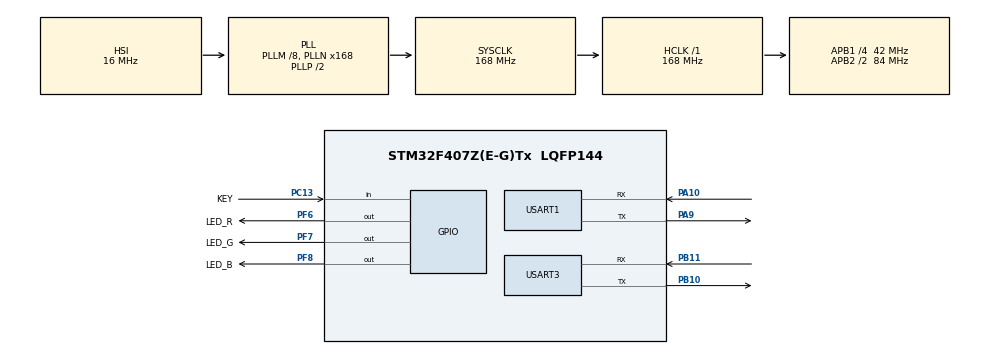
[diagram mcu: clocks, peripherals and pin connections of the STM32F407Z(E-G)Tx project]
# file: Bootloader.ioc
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Dma.Request0=USART3_RX
Dma.USART3_RX.0.Direction=DMA_PERIPH_TO_MEMORY
Dma.USART3_RX.0.FIFOMode=DMA_FIFOMODE_DISABLE
Dma.USART3_RX.0.Instance=DMA1_Stream1
Dma.USART3_RX.0.MemDataAlignment=DMA_MDATAALIGN_BYTE
Dma.USART3_RX.0.MemInc=DMA_MINC_ENABLE
Dma.USART3_RX.0.Mode=DMA_NORMAL
Dma.USART3_RX.0.PeriphDataAlignment=DMA_PDATAALIGN_BYTE
Dma.USART3_RX.0.PeriphInc=DMA_PINC_DISABLE
Dma.USART3_RX.0.Priority=DMA_PRIORITY_LOW
Mcu.Family=STM32F4
Mcu.Name=STM32F407Z(E-G)Tx
Mcu.Package=LQFP144
NVIC.DMA1_Stream1_IRQn=true\:0\:0\:false\:false\:true\:false\:true\:true
NVIC.PriorityGroup=NVIC_PRIORITYGROUP_4
NVIC.USART1_IRQn=true\:0\:0\:false\:false\:true\:true\:true\:true
NVIC.USART3_IRQn=true\:0\:0\:false\:false\:true\:true\:true\:true
PA10.Mode=Asynchronous
PA10.Signal=USART1_RX
PA9.Mode=Asynchronous
PA9.Signal=USART1_TX
PB10.Mode=Asynchronous
PB10.Signal=USART3_TX
PB11.Mode=Asynchronous
PB11.Signal=USART3_RX
PC13-ANTI_TAMP.GPIO_Label=KEY
PC13-ANTI_TAMP.GPIO_PuPd=GPIO_PULLDOWN
PC13-ANTI_TAMP.Signal=GPIO_Input
PC14-OSC32_IN.Mode=LSE-External-Oscillator
PC14-OSC32_IN.Signal=RCC_OSC32_IN
PC15-OSC32_OUT.Mode=LSE-External-Oscillator
PC15-OSC32_OUT.Signal=RCC_OSC32_OUT
PF6.GPIO_Label=LED_R
PF6.Signal=GPIO_Output
PF7.GPIO_Label=LED_G
PF7.Signal=GPIO_Output
PF8.GPIO_Label=LED_B
PF8.Signal=GPIO_Output
PH0-OSC_IN.Mode=HSE-External-Oscillator
PH0-OSC_IN.Signal=RCC_OSC_IN
PH1-OSC_OUT.Mode=HSE-External-Oscillator
PH1-OSC_OUT.Signal=RCC_OSC_OUT
ProjectManager.HeapSize=0x200
ProjectManager.StackSize=0x400
ProjectManager.TargetToolchain=CMake
RCC.48MHZClocksFreq_Value=84000000
RCC.AHBFreq_Value=168000000
RCC.APB1CLKDivider=RCC_HCLK_DIV4
RCC.APB1Freq_Value=42000000
RCC.APB1TimFreq_Value=84000000
RCC.APB2CLKDivider=RCC_HCLK_DIV2
RCC.APB2Freq_Value=84000000
RCC.APB2TimFreq_Value=168000000
RCC.CortexFreq_Value=168000000
RCC.HCLKFreq_Value=168000000
RCC.HSE_VALUE=25000000
RCC.HSI_VALUE=16000000
RCC.PLLM=8
RCC.PLLN=168
RCC.SYSCLKFreq_VALUE=168000000
RCC.SYSCLKSource=RCC_SYSCLKSOURCE_PLLCLK
RCC.VCOOutputFreq_Value=336000000
USART1.VirtualMode=VM_ASYNC
USART3.VirtualMode=VM_ASYNC
board=custom

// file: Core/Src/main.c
/* USER CODE BEGIN Header */
/**
  ******************************************************************************
  * @file           : main.c
  * @brief          : Main program body
  ******************************************************************************
  * @attention
  *
  * Copyright (c) 2026 STMicroelectronics.
  * All rights reserved.
  *
  * This software is licensed under terms that can be found in the LICENSE file
  * in the root directory of this software component.
  * If no LICENSE file comes with this software, it is provided AS-IS.
  *
  ******************************************************************************
  */
/* USER CODE END Header */
#include "main.h"
#include "dma.h"
#include "usart.h"
#include "gpio.h"

/* USER CODE BEGIN Includes */
#include <stdio.h>

#include "bsp_esp8266.h"
#include "bsp_firmware.h"
#include "bsp_flash.h"
#include "bsp_iap.h"
/* USER CODE END Includes */

/* USER CODE BEGIN PTD */
//#define KEY_PRESSED() HAL_GPIO_ReadPin(KEY_GPIO_Port, KEY_Pin) == GPIO_PIN_SET
/* USER CODE END PTD */

/* USER CODE BEGIN PD */
/* 串口3 DMA接收缓冲区 */
#define ESP_RX_SIZE 256
uint8_t esp_rx_buffer[ESP_RX_SIZE];
uint8_t rx_data;
uint8_t need_upgrade = 0;

int active_bank;
/* USER CODE END PD */

void SystemClock_Config(void);

/* USER CODE BEGIN 0 */
void JumpToApplication(uint32_t appAddress)
{
  const uint32_t app_sp = *(__IO uint32_t*)appAddress;
  const uint32_t app_entry = *(__IO uint32_t*)(appAddress + 4U);
  const uint32_t sram_start = SRAM_BASE;
  const uint32_t sram_end = SRAM_BASE + (128U * 1024U);

  /* 查一下什么意思 */
  uint32_t app_end = 0U;
  if ((appAddress >= BANK_A_ADDRESS) &&
      (appAddress <= BANK_B_ADDRESS)) {
    app_end = appAddress + BANK_SIZE;
  }

  if ((app_end != 0U) &&
      /* The initial MSP may legally point one past the last SRAM byte. */
      (app_sp >= sram_start) && (app_sp <= sram_end) &&
      ((app_sp & 0x7U) == 0U) &&
      ((app_entry & 1U) != 0U) &&
      ((app_entry & ~1U) >= appAddress) &&
      ((app_entry & ~1U) < app_end))
  {
    // 定义一个函数指针类型，用于指向应用程序的复位处理程序
    typedef void (*pFunction)(void);

    // 设置函数指针指向应用程序的复位处理程序
    pFunction app_reset_handler = (pFunction)app_entry;
    // 关闭中断 关闭 SysTick 定时器
    __disable_irq();
    SysTick->CTRL = 0; // 禁用 SysTick 定时器
    SysTick->LOAD = 0;
    SysTick->VAL = 0;

    UART1_SendString("Valid application found!\r\n");
    // char txBuf[100];

    // snprintf(txBuf, sizeof(txBuf),
    //      "APP SP: 0x%08lX\r\nAPP Entry: 0x%08lX\r\n",
    //      (unsigned long)app_sp,
    //      (unsigned long)app_entry);

    // UART1_SendString(txBuf);
    // 设置向量表偏移寄存器为应用程序的起始地址
    SCB->VTOR = appAddress;
    __set_MSP(app_sp); // 设置主堆栈指针

    app_reset_handler(); // 跳转到应用程序的复位处理程序
  }
  else
  {
    UART1_SendString("No valid application found!\r\n");
  }

}

/* 检查升级标志 */
uint8_t CheckUpgradeFlag(void) {
  // (__IO uint32_t *)把整数地址转换为指向 32 位数据的 volatile 指针
  return (*(__IO uint32_t *)UPGRADE_FLAG_ADDRESS == UPGRADE_FLAG_VALUE) ? 1U : 0U;
}

/* 清除升级标志 */
void ClearUpgradeFlag(void) {
    FLASH_EraseInitTypeDef erase_init;
    uint32_t sector_error = 0U;

    if (HAL_FLASH_Unlock() != HAL_OK) {
        return;
    }

    erase_init.TypeErase = FLASH_TYPEERASE_SECTORS;
    erase_init.Sector = UPGRADE_FLAG_SECTOR;
    erase_init.NbSectors = 1U;
    erase_init.VoltageRange = FLASH_VOLTAGE_RANGE_3;

    (void)HAL_FLASHEx_Erase(&erase_init, &sector_error);
    HAL_FLASH_Lock();
}
/* USER CODE END 0 */

int main(void)
{

  /* MCU Configuration--------------------------------------------------------*/

  /* Reset of all peripherals, Initializes the Flash interface and the Systick. */
  HAL_Init();

  /* Configure the system clock */
  SystemClock_Config();

  /* Initialize all configured peripherals */
  MX_GPIO_Init();
  MX_DMA_Init();
  MX_USART1_UART_Init();
  MX_USART3_UART_Init();

  /* USER CODE BEGIN 2 */
  //HAL_UARTEx_ReceiveToIdle_DMA(&huart3,esp_rx_buffer,ESP_RX_SIZE);
  HAL_Delay(2000);

  //ESP8266_Init();

  // 待尝试启动，检查烧录的新Bank是否需要回滚
  if (CheckRollbackNeeded()) {
    UART1_SendString("Rollback needed, switching banks...\r\n");
    // 执行回滚操作
    if (PerformRollback() == 0) {
      HAL_Delay(1000);
      // 重新启动系统
      NVIC_SystemReset();
    }
    else {
      UART1_SendString("Rollback failed, entering recovery mode\r\n");
      // 进入恢复模式
      while (1) {
        HAL_Delay(200);
      }
    }
  }

  // APP请求升级
  if (CheckUpgradeFlag()) {
    // 清除升级标志，防止重复升级
    ClearUpgradeFlag();
    // 进入 IAP 升级模式
    IAP_Init();
    // 启动串口接收中断
    HAL_UART_Receive_IT(&huart1, &rx_data, 1);

    uint32_t led_tick = HAL_GetTick();
    while (1) {
      if (HAL_GetTick() - led_tick >= 500U) {
        led_tick = HAL_GetTick();
        HAL_GPIO_TogglePin(GPIOF, LED_G_Pin);
      }
      // 处理接收到的数据包
      if (rx_packet_ready) {
        IAP_Packet_t packet;
        // 解析接收到的数据包
        if (IAP_ParsePacket(rx_buffer, rx_index, &packet)) {
          // 处理数据包
          IAP_ProcessPacket(&packet);
        } else {
          IAP_SendResponse(rx_buffer[1], RESP_CRC_ERROR);
        }
        // 重置接收缓冲区索引和数据包就绪标志
        rx_index = 0U;
        rx_packet_ready = 0U;
      }
    }
  }

  active_bank = GetActiveBank();
  if (active_bank < 0) {
    UART1_SendString("No valid active bank, entering recovery mode\r\n");
    IAP_Init();
    HAL_UART_Receive_IT(&huart1, &rx_data, 1);
    while (1) {
      if (rx_packet_ready) {
        IAP_Packet_t packet;
        if (IAP_ParsePacket(rx_buffer, rx_index, &packet)) {
          IAP_ProcessPacket(&packet);
        } else {
          IAP_SendResponse(rx_buffer[1], RESP_CRC_ERROR);
        }
        rx_index = 0U;
        rx_packet_ready = 0U;
      }
    }
  }

  // 记录启动尝试并验证活动分区
  if (RecordBootAttempt((BankIndex_t)active_bank) != 0 ||
      VerifyBankFirmware((BankIndex_t)active_bank) != 0) {
    UART1_SendString("Active bank verification failed\r\n");
    RecordBootFailure((BankIndex_t)active_bank);

    if (PerformRollback() == 0) {
      NVIC_SystemReset();
    }

    UART1_SendString("Entering recovery mode\r\n");
    while (1) {
      HAL_GPIO_TogglePin(GPIOF, LED_G_Pin);
      HAL_Delay(200);
    }
  }
  // 显示分区信息
  BankInfo_t info;
  ReadBankInfo((BankIndex_t)active_bank, &info);
  // printf("Firmware version: %u.%u.%u\r\n",
  //        info.version_major, info.version_minor, info.version_build);
  // printf("Boot count: %u\r\n", info.boot_count);
  // printf("Fail count: %u\r\n", info.fail_count);

  // 延时后跳转
  // printf("Jumping to application in 2 seconds...\r\n");
  HAL_GPIO_TogglePin(GPIOF, LED_G_Pin);
  HAL_Delay(2000);
  HAL_GPIO_TogglePin(GPIOF, LED_G_Pin);
  // 跳转到活动分区
  //JumpToBank(active_bank);
  JumpToApplication((active_bank == BANK_A) ?
                    BANK_A_ADDRESS : BANK_B_ADDRESS);
  //printf("Active bank: %c\r\n", 'A' + active_bank);
  //   HAL_Delay(2000);
  //   UART1_SendString("Checking application...\r\n");

  //   uint32_t app_sp = *(__IO uint32_t*)APP_ADDRESS;
  //   uint32_t app_entry = *(volatile uint32_t *)(APP_ADDRESS + 4U);
  //   // char buffer[64];
  //   // snprintf(buffer, sizeof(buffer),
  //   //        "App SP: 0x%08lX\r\n", (unsigned long)app_sp);
  //   // UART1_SendString(buffer);
  //   // snprintf(buffer, sizeof(buffer),
  //   //        "App Reset: 0x%08lX\r\n", (unsigned long)app_reset);
  //   // UART1_SendString(buffer);

  //   uint32_t sram_start = 0x20000000U;
  //   uint32_t sram_end = 0x20020000U;
  //   if ((app_sp >= sram_start) && (app_sp <= sram_end) && ((app_sp & 0x7U) == 0U) && ((app_entry & 1U) != 0U) && ((app_entry & ~1U) >= APP_ADDRESS) && ((app_entry & ~1U) < (APP_ADDRESS + APP_SIZE))){
  //     UART1_SendString("Valid application found\r\n");
  //     HAL_Delay(500);
  //     JumpToApplication(APP_ADDRESS);
  //   }
  //   else {
  //     UART1_SendString("No valid application, waiting for upgrade\r\n");
  //     /* 进入IAP升级模式 */
  //     IAP_Init();
  //     while (1) {
  //       HAL_GPIO_TogglePin(GPIOF, LED_R_Pin);
  //       HAL_Delay(500);
  //     }
  //   }
  // }
  /* USER CODE END 2 */

  /* Infinite loop */
  while (1)
  {

  }
}

void SystemClock_Config(void)
{
  RCC_OscInitTypeDef RCC_OscInitStruct = {0};
  RCC_ClkInitTypeDef RCC_ClkInitStruct = {0};

  /** Configure the main internal regulator output voltage
  */
  __HAL_RCC_PWR_CLK_ENABLE();
  __HAL_PWR_VOLTAGESCALING_CONFIG(PWR_REGULATOR_VOLTAGE_SCALE1);

  /** Initializes the RCC Oscillators according to the specified parameters
  * in the RCC_OscInitTypeDef structure.
  */
  RCC_OscInitStruct.OscillatorType = RCC_OSCILLATORTYPE_HSI;
  RCC_OscInitStruct.HSIState = RCC_HSI_ON;
  RCC_OscInitStruct.HSICalibrationValue = RCC_HSICALIBRATION_DEFAULT;
  RCC_OscInitStruct.PLL.PLLState = RCC_PLL_ON;
  RCC_OscInitStruct.PLL.PLLSource = RCC_PLLSOURCE_HSI;
  RCC_OscInitStruct.PLL.PLLM = 8;
  RCC_OscInitStruct.PLL.PLLN = 168;
  RCC_OscInitStruct.PLL.PLLP = RCC_PLLP_DIV2;
  RCC_OscInitStruct.PLL.PLLQ = 4;
  if (HAL_RCC_OscConfig(&RCC_OscInitStruct) != HAL_OK)
  {
    Error_Handler();
  }

  /** Initializes the CPU, AHB and APB buses clocks
  */
  RCC_ClkInitStruct.ClockType = RCC_CLOCKTYPE_HCLK|RCC_CLOCKTYPE_SYSCLK
                              |RCC_CLOCKTYPE_PCLK1|RCC_CLOCKTYPE_PCLK2;
  RCC_ClkInitStruct.SYSCLKSource = RCC_SYSCLKSOURCE_PLLCLK;
  RCC_ClkInitStruct.AHBCLKDivider = RCC_SYSCLK_DIV1;
  RCC_ClkInitStruct.APB1CLKDivider = RCC_HCLK_DIV4;
  RCC_ClkInitStruct.APB2CLKDivider = RCC_HCLK_DIV2;

  if (HAL_RCC_ClockConfig(&RCC_ClkInitStruct, FLASH_LATENCY_5) != HAL_OK)
  {
    Error_Handler();
  }
}

/* USER CODE BEGIN 4 */
void HAL_UART_RxCpltCallback(UART_HandleTypeDef *huart)
{
    if (huart->Instance == USART1)
    {
        UART_RxCallback(rx_data);
        HAL_UART_Receive_IT(&huart1, &rx_data, 1);
    }
}

void HAL_UARTEx_RxEventCallback(UART_HandleTypeDef *huart, uint16_t Size)
{
  if (huart->Instance == USART3)
  {
    /* [注：Size是HAL库计算出的接收的数据大小] */
    HAL_UART_Transmit(&huart1,esp_rx_buffer,Size,1000);
    /*重新启动USART3接收 [注：ESP_RX_SIZE是最大允许接收的大小] */
    HAL_UARTEx_ReceiveToIdle_DMA(&huart3,esp_rx_buffer,ESP_RX_SIZE);
  }
}
/* USER CODE END 4 */

void Error_Handler(void)
{
  __disable_irq();
  while (1)
  {
  }
}
